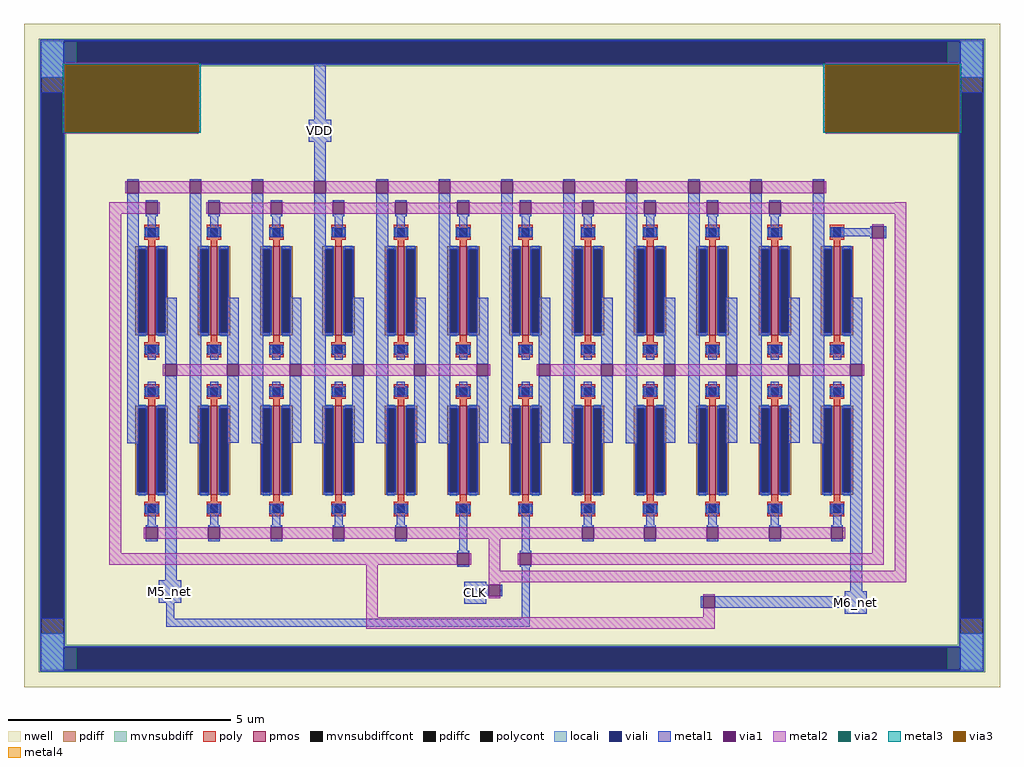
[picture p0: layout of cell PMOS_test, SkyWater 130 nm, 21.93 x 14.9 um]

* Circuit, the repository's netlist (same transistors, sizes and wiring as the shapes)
** sch_path: /home/jaxie963/caravel_pls_man_analog/caravel_user_project_analog/xschem/PMOS_test.sch
.subckt PMOS_test VDD CLK M5_net M6_net
*.PININFO VDD:B CLK:B M5_net:B M6_net:B
XM1 M5_net CLK VDD VDD sky130_fd_pr__pfet_01v8 L=0.15 W=2 nf=1 m=10
XM2 M6_net CLK VDD VDD sky130_fd_pr__pfet_01v8 L=0.15 W=2 nf=1 m=10
XM3 M5_net M6_net VDD VDD sky130_fd_pr__pfet_01v8 L=0.15 W=2 nf=1 m=2
XM4 M6_net M5_net VDD VDD sky130_fd_pr__pfet_01v8 L=0.15 W=2 nf=1 m=2
.ends
.end

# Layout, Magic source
magic
tech sky130B
magscale 1 2
<< nwell >>
rect -574 -1780 3812 1200
<< mvnsubdiff >>
rect -508 1122 3746 1134
rect -508 1022 -334 1122
rect 3572 1022 3746 1122
rect -508 1010 3746 1022
rect -508 960 -384 1010
rect -508 -1540 -496 960
rect -396 -1540 -384 960
rect -508 -1590 -384 -1540
rect 3622 960 3746 1010
rect 3622 -1540 3634 960
rect 3734 -1540 3746 960
rect 3622 -1590 3746 -1540
rect -508 -1602 3746 -1590
rect -508 -1702 -334 -1602
rect 3572 -1702 3746 -1602
rect -508 -1714 3746 -1702
<< mvnsubdiffcont >>
rect -334 1022 3572 1122
rect -496 -1540 -396 960
rect 3634 -1540 3734 960
rect -334 -1702 3572 -1602
<< locali >>
rect -496 960 -396 1122
rect -496 -1702 -396 -1540
rect 3634 960 3734 1122
rect 3634 -1702 3734 -1540
<< viali >>
rect -396 1022 -334 1122
rect -334 1022 3572 1122
rect 3572 1022 3634 1122
rect -496 -1471 -396 891
rect 3634 -1471 3734 891
rect -396 -1702 -334 -1602
rect -334 -1702 3572 -1602
rect 3572 -1702 3634 -1602
<< metal1 >>
rect -502 1122 3740 1128
rect -502 1022 -396 1122
rect 3634 1022 3740 1122
rect -502 1016 3740 1022
rect -502 891 -390 1016
rect -502 -1471 -496 891
rect -396 -1471 -390 891
rect 210 716 220 1016
rect 730 770 782 1016
rect 706 670 806 770
rect 3018 716 3028 1016
rect 3628 891 3740 1016
rect -110 492 -58 502
rect -110 -684 -58 440
rect 170 492 222 502
rect -26 398 26 408
rect -26 336 26 346
rect -18 246 18 336
rect -18 -308 18 -246
rect 60 -330 112 -30
rect -18 -470 18 -408
rect -18 -1052 18 -962
rect -26 -1062 26 -1052
rect -26 -1124 26 -1114
rect 60 -1300 112 -382
rect 170 -684 222 440
rect 450 492 502 502
rect 254 398 306 408
rect 254 336 306 346
rect 262 246 298 336
rect 262 -308 298 -246
rect 340 -330 392 -30
rect 262 -470 298 -408
rect 340 -682 392 -382
rect 450 -684 502 440
rect 730 492 782 670
rect 534 398 586 408
rect 534 336 586 346
rect 542 246 578 336
rect 542 -308 578 -246
rect 620 -330 672 -30
rect 542 -470 578 -408
rect 620 -682 672 -382
rect 730 -684 782 440
rect 1010 492 1062 502
rect 814 398 866 408
rect 814 336 866 346
rect 822 246 858 336
rect 822 -308 858 -246
rect 900 -330 952 -30
rect 822 -470 858 -408
rect 900 -682 952 -382
rect 1010 -684 1062 440
rect 1290 492 1342 502
rect 1094 398 1146 408
rect 1094 336 1146 346
rect 1102 246 1138 336
rect 1102 -308 1138 -246
rect 1180 -330 1232 -30
rect 1102 -470 1138 -408
rect 1180 -682 1232 -382
rect 1290 -684 1342 440
rect 1570 492 1622 502
rect 1374 398 1426 408
rect 1374 336 1426 346
rect 1382 246 1418 336
rect 1382 -308 1418 -246
rect 1460 -330 1512 -30
rect 1382 -470 1418 -408
rect 1460 -682 1512 -382
rect 1570 -684 1622 440
rect 1850 492 1902 502
rect 1654 398 1706 408
rect 1654 336 1706 346
rect 1662 246 1698 336
rect 1662 -308 1698 -246
rect 1740 -330 1792 -30
rect 1662 -470 1698 -408
rect 1740 -682 1792 -382
rect 1850 -684 1902 440
rect 2130 492 2182 502
rect 1934 398 1986 408
rect 1934 336 1986 346
rect 1942 246 1978 336
rect 1942 -308 1978 -246
rect 2020 -330 2072 -30
rect 1942 -470 1978 -408
rect 2020 -682 2072 -382
rect 2130 -684 2182 440
rect 2410 492 2462 502
rect 2214 398 2266 408
rect 2214 336 2266 346
rect 2222 246 2258 336
rect 2222 -308 2258 -246
rect 2300 -330 2352 -30
rect 2222 -470 2258 -408
rect 2300 -682 2352 -382
rect 2410 -684 2462 440
rect 2690 492 2742 502
rect 2494 398 2546 408
rect 2494 336 2546 346
rect 2502 246 2538 336
rect 2502 -308 2538 -246
rect 2580 -330 2632 -30
rect 2502 -470 2538 -408
rect 2580 -682 2632 -382
rect 2690 -684 2742 440
rect 2970 492 3022 502
rect 2774 398 2826 408
rect 2774 336 2826 346
rect 2782 246 2818 336
rect 2782 -308 2818 -246
rect 2860 -330 2912 -30
rect 2782 -470 2818 -408
rect 2860 -682 2912 -382
rect 2970 -684 3022 440
rect 3228 282 3238 290
rect 3062 246 3238 282
rect 3228 238 3238 246
rect 3290 238 3300 290
rect 3062 -308 3098 -246
rect 3140 -330 3192 -30
rect 3062 -470 3098 -408
rect 262 -1052 298 -962
rect 542 -1052 578 -962
rect 822 -1052 858 -962
rect 1102 -1052 1138 -962
rect 254 -1062 306 -1052
rect 254 -1124 306 -1114
rect 534 -1062 586 -1052
rect 534 -1124 586 -1114
rect 814 -1062 866 -1052
rect 814 -1124 866 -1114
rect 1094 -1062 1146 -1052
rect 1094 -1124 1146 -1114
rect 1382 -1168 1418 -962
rect 1662 -1168 1698 -962
rect 1942 -1052 1978 -962
rect 2222 -1052 2258 -962
rect 2502 -1052 2538 -962
rect 2782 -1052 2818 -962
rect 3062 -1052 3098 -962
rect 1934 -1062 1986 -1052
rect 1934 -1124 1986 -1114
rect 2214 -1062 2266 -1052
rect 2214 -1124 2266 -1114
rect 2494 -1062 2546 -1052
rect 2494 -1124 2546 -1114
rect 2774 -1062 2826 -1052
rect 2774 -1124 2826 -1114
rect 3054 -1062 3106 -1052
rect 3054 -1124 3106 -1114
rect 1374 -1178 1426 -1168
rect 1374 -1240 1426 -1230
rect 1654 -1178 1706 -1168
rect 1654 -1240 1706 -1230
rect 32 -1400 132 -1300
rect 1404 -1320 1504 -1306
rect 1404 -1372 1514 -1320
rect 1566 -1372 1576 -1320
rect -502 -1596 -390 -1471
rect 66 -1472 102 -1400
rect 1404 -1406 1504 -1372
rect 1662 -1472 1698 -1240
rect 3140 -1350 3192 -382
rect 3114 -1372 3214 -1350
rect 2468 -1424 2478 -1372
rect 2530 -1424 3214 -1372
rect 3114 -1450 3214 -1424
rect 66 -1508 1698 -1472
rect 3628 -1471 3634 891
rect 3734 -1471 3740 891
rect 3628 -1596 3740 -1471
rect -502 -1602 3740 -1596
rect -502 -1702 -396 -1602
rect 3634 -1702 3740 -1602
rect -502 -1708 3740 -1702
<< via1 >>
rect -390 716 210 1016
rect 3028 716 3628 1016
rect -110 440 -58 492
rect 170 440 222 492
rect -26 346 26 398
rect 60 -382 112 -330
rect -26 -1114 26 -1062
rect 450 440 502 492
rect 254 346 306 398
rect 340 -382 392 -330
rect 730 440 782 492
rect 534 346 586 398
rect 620 -382 672 -330
rect 1010 440 1062 492
rect 814 346 866 398
rect 900 -382 952 -330
rect 1290 440 1342 492
rect 1094 346 1146 398
rect 1180 -382 1232 -330
rect 1570 440 1622 492
rect 1374 346 1426 398
rect 1460 -382 1512 -330
rect 1850 440 1902 492
rect 1654 346 1706 398
rect 1740 -382 1792 -330
rect 2130 440 2182 492
rect 1934 346 1986 398
rect 2020 -382 2072 -330
rect 2410 440 2462 492
rect 2214 346 2266 398
rect 2300 -382 2352 -330
rect 2690 440 2742 492
rect 2494 346 2546 398
rect 2580 -382 2632 -330
rect 2970 440 3022 492
rect 2774 346 2826 398
rect 2860 -382 2912 -330
rect 3238 238 3290 290
rect 3140 -382 3192 -330
rect 254 -1114 306 -1062
rect 534 -1114 586 -1062
rect 814 -1114 866 -1062
rect 1094 -1114 1146 -1062
rect 1934 -1114 1986 -1062
rect 2214 -1114 2266 -1062
rect 2494 -1114 2546 -1062
rect 2774 -1114 2826 -1062
rect 3054 -1114 3106 -1062
rect 1374 -1230 1426 -1178
rect 1654 -1230 1706 -1178
rect 1514 -1372 1566 -1320
rect 2478 -1424 2530 -1372
<< metal2 >>
rect -390 1016 210 1026
rect -390 706 210 716
rect 3028 1016 3628 1026
rect 3028 706 3628 716
rect -120 440 -110 492
rect -58 440 170 492
rect 222 440 450 492
rect 502 440 730 492
rect 782 440 1010 492
rect 1062 440 1290 492
rect 1342 440 1570 492
rect 1622 440 1850 492
rect 1902 440 2130 492
rect 2182 440 2410 492
rect 2462 440 2690 492
rect 2742 440 2970 492
rect 3022 440 3032 492
rect -190 346 -26 398
rect 26 346 36 398
rect 244 346 254 398
rect 306 396 316 398
rect 524 396 534 398
rect 306 346 534 396
rect 586 396 596 398
rect 804 396 814 398
rect 586 346 814 396
rect 866 396 876 398
rect 1084 396 1094 398
rect 866 346 1094 396
rect 1146 396 1156 398
rect 1364 396 1374 398
rect 1146 346 1374 396
rect 1426 396 1436 398
rect 1644 396 1654 398
rect 1426 346 1654 396
rect 1706 396 1716 398
rect 1924 396 1934 398
rect 1706 346 1934 396
rect 1986 396 1996 398
rect 2204 396 2214 398
rect 1986 346 2214 396
rect 2266 396 2276 398
rect 2484 396 2494 398
rect 2266 346 2494 396
rect 2546 396 2556 398
rect 2764 396 2774 398
rect 2546 346 2774 396
rect 2826 396 2836 398
rect 3338 396 3390 398
rect 2826 346 3390 396
rect -190 -1178 -138 346
rect 3238 290 3290 300
rect 50 -382 60 -330
rect 112 -382 340 -330
rect 392 -382 620 -330
rect 672 -382 900 -330
rect 952 -382 1180 -330
rect 1232 -382 1460 -330
rect 1512 -382 1522 -330
rect 1730 -382 1740 -330
rect 1792 -382 2020 -330
rect 2072 -382 2300 -330
rect 2352 -382 2580 -330
rect 2632 -382 2860 -330
rect 2912 -382 3140 -330
rect 3192 -382 3202 -330
rect -36 -1114 -26 -1062
rect 26 -1114 254 -1062
rect 306 -1114 534 -1062
rect 586 -1114 814 -1062
rect 866 -1114 1094 -1062
rect 1146 -1114 1934 -1062
rect 1986 -1114 2214 -1062
rect 2266 -1114 2494 -1062
rect 2546 -1114 2774 -1062
rect 2826 -1114 3054 -1062
rect 3106 -1114 3116 -1062
rect -190 -1230 1374 -1178
rect 1426 -1230 1436 -1178
rect 964 -1466 1016 -1230
rect 1514 -1258 1566 -1114
rect 3238 -1178 3290 238
rect 1644 -1230 1654 -1178
rect 1706 -1230 3290 -1178
rect 3338 -1258 3390 346
rect 1514 -1310 3390 -1258
rect 1514 -1320 1566 -1310
rect 1514 -1382 1566 -1372
rect 2478 -1372 2530 -1362
rect 2478 -1466 2530 -1424
rect 964 -1518 2530 -1466
<< via2 >>
rect -390 716 210 1016
rect 3028 716 3628 1016
<< metal3 >>
rect -400 1016 220 1021
rect -400 716 -390 1016
rect 210 716 220 1016
rect -400 711 220 716
rect 3018 1016 3638 1021
rect 3018 716 3028 1016
rect 3628 716 3638 1016
rect 3018 711 3638 716
<< via3 >>
rect -390 716 210 1016
rect 3028 716 3628 1016
<< metal4 >>
rect -391 1016 211 1017
rect -391 716 -390 1016
rect 210 716 211 1016
rect -391 715 211 716
rect 3027 1016 3629 1017
rect 3027 716 3028 1016
rect 3628 716 3629 1016
rect 3027 715 3629 716
use sky130_fd_pr__pfet_01v8_MJ75SZ  xm1
transform 1 0 0 0 1 0
box -109 -300 109 300
use sky130_fd_pr__pfet_01v8_MJ75SZ  xm2
transform 1 0 280 0 1 0
box -109 -300 109 300
use sky130_fd_pr__pfet_01v8_MJ75SZ  xm3
transform 1 0 560 0 1 0
box -109 -300 109 300
use sky130_fd_pr__pfet_01v8_MJ75SZ  xm4
transform 1 0 840 0 1 0
box -109 -300 109 300
use sky130_fd_pr__pfet_01v8_MJ75SZ  xm5
transform 1 0 1120 0 1 0
box -109 -300 109 300
use sky130_fd_pr__pfet_01v8_MJ75SZ  xm6
transform 1 0 1400 0 1 0
box -109 -300 109 300
use sky130_fd_pr__pfet_01v8_MJ75SZ  xm7
transform 1 0 1680 0 1 0
box -109 -300 109 300
use sky130_fd_pr__pfet_01v8_MJ75SZ  xm8
transform 1 0 1960 0 1 0
box -109 -300 109 300
use sky130_fd_pr__pfet_01v8_MJ75SZ  xm9
transform 1 0 2240 0 1 0
box -109 -300 109 300
use sky130_fd_pr__pfet_01v8_MJ75SZ  xm10
transform 1 0 2520 0 1 0
box -109 -300 109 300
use sky130_fd_pr__pfet_01v8_MJ75SZ  xm11
transform 1 0 2800 0 1 0
box -109 -300 109 300
use sky130_fd_pr__pfet_01v8_MJ75SZ  xm12
transform 1 0 3080 0 1 0
box -109 -300 109 300
use sky130_fd_pr__pfet_01v8_MJ75SZ  xm13
transform 1 0 0 0 1 -716
box -109 -300 109 300
use sky130_fd_pr__pfet_01v8_MJ75SZ  xm14
transform 1 0 280 0 1 -716
box -109 -300 109 300
use sky130_fd_pr__pfet_01v8_MJ75SZ  xm15
transform 1 0 560 0 1 -716
box -109 -300 109 300
use sky130_fd_pr__pfet_01v8_MJ75SZ  xm16
transform 1 0 840 0 1 -716
box -109 -300 109 300
use sky130_fd_pr__pfet_01v8_MJ75SZ  xm17
transform 1 0 1120 0 1 -716
box -109 -300 109 300
use sky130_fd_pr__pfet_01v8_MJ75SZ  xm18
transform 1 0 1400 0 1 -716
box -109 -300 109 300
use sky130_fd_pr__pfet_01v8_MJ75SZ  xm19
transform 1 0 1680 0 1 -716
box -109 -300 109 300
use sky130_fd_pr__pfet_01v8_MJ75SZ  xm20
transform 1 0 1960 0 1 -716
box -109 -300 109 300
use sky130_fd_pr__pfet_01v8_MJ75SZ  xm21
transform 1 0 2240 0 1 -716
box -109 -300 109 300
use sky130_fd_pr__pfet_01v8_MJ75SZ  xm22
transform 1 0 2520 0 1 -716
box -109 -300 109 300
use sky130_fd_pr__pfet_01v8_MJ75SZ  xm23
transform 1 0 2800 0 1 -716
box -109 -300 109 300
use sky130_fd_pr__pfet_01v8_MJ75SZ  xm24
transform 1 0 3080 0 1 -716
box -109 -300 109 300
<< labels >>
rlabel metal1 3114 -1450 3214 -1350 1 M6_net
port 4 n
rlabel metal1 1404 -1406 1504 -1306 1 CLK
port 3 n
rlabel metal1 32 -1400 132 -1300 1 M5_net
port 2 n
rlabel metal1 706 670 806 770 1 VDD
port 1 n
<< properties >>
string FIXED_BBOX -446 -1652 3684 1072
<< end >>

# cell sky130_fd_pr__pfet_01v8_MJ75SZ: kit device sky130_fd_pr__pfet_01v8, w 2 l 0.15 m 1 nf 1 diffcov 100 polycov 100 guard 0 glc 1 grc 1 gtc 1 gbc 1 tbcov 100 rlcov 100 topc 1 botc 1 poverlap 0 doverlap 1 lmin 0.15 wmin 0.42 class mosfet compatible {sky130_fd_pr__pfet_01v8 sky130_fd_pr__pfet_01v8_lvt sky130_fd_pr__pfet_01v8_hvt sky130_fd_pr__pfet_g5v0d10v5} full_metal 0 viasrc 100 viadrn 100 viagate 100 viagb 0 viagr 0 viagl 0 viagt 0
